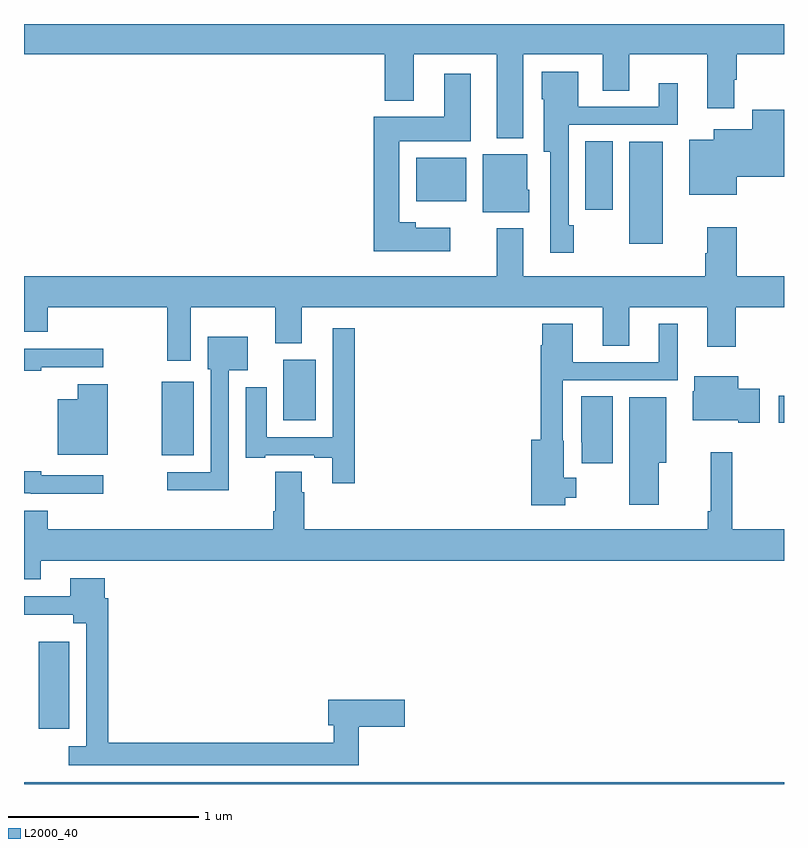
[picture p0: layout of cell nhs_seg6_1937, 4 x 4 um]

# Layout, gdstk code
import gdstk
lib = gdstk.Library(unit=1e-6, precision=1e-09)
def R(c, l, rs):  # rectangles x0, y0, x1, y1
    for r in rs: c.add(gdstk.rectangle(r[:2], r[2:], *l))
def P(c, l, *ps):  # polygons
    for p in ps: c.add(gdstk.Polygon(p, *l))
L2000_40 = (2000, 40)

nhs_seg6_1937 = lib.new_cell('nhs_seg6_1937')
R(nhs_seg6_1937, L2000_40, [(227,939.5,231,939.508), (227.078,939.791,227.239,940.249), (227.726,941.231,227.893,941.617), (230.973,941.402,231,941.544), (228.365,941.414,228.535,941.734), (230.186,942.344,230.362,942.88), (229.955,942.522,230.098,942.884), (229.064,942.566,229.327,942.796)])
P(nhs_seg6_1937, L2000_40, [(227,943.34),(228.899,943.34),(228.899,943.097),(229.051,943.097),(229.051,943.34),(229.487,943.34),(229.487,942.899),(229.627,942.899),(229.627,943.34),(230.045,943.34),(230.045,943.15),(230.185,943.15),(230.185,943.34),(230.597,943.34),(230.597,943.056),(230.737,943.056),(230.737,943.206),(230.75,943.206),(230.75,943.34),(231,943.34),(231,943.5),(227,943.5)],
  [(229.893,942.441),(229.866,942.441),(229.866,942.969),(230.44,942.969),(230.44,943.189),(230.342,943.189),(230.342,943.065),(229.918,943.065),(229.918,943.249),(229.724,943.249),(229.724,943.104),(229.736,943.104),(229.736,942.827),(229.77,942.827),(229.77,942.297),(229.893,942.297)],
  [(229.243,942.427),(229.063,942.427),(229.063,942.457),(228.976,942.457),(228.976,942.884),(229.351,942.884),(229.351,943.237),(229.211,943.237),(229.211,943.012),(228.842,943.012),(228.842,942.305),(229.243,942.305)],
  [(230.752,942.695),(231,942.695),(231,943.048),(230.834,943.048),(230.834,942.946),(230.63,942.946),(230.63,942.892),(230.501,942.892),(230.501,942.602),(230.752,942.602)],
  [(229.66,942.627),(229.648,942.627),(229.648,942.814),(229.415,942.814),(229.415,942.509),(229.66,942.509)],
  [(227.878,942.008),(228.323,942.008),(228.323,941.819),(228.463,941.819),(228.463,942.008),(230.045,942.008),(230.045,941.806),(230.185,941.806),(230.185,942.008),(230.597,942.008),(230.597,941.802),(230.745,941.802),(230.745,942.008),(231,942.008),(231,942.172),(230.75,942.172),(230.75,942.43),(230.597,942.43),(230.597,942.293),(230.585,942.293),(230.585,942.172),(229.627,942.172),(229.627,942.424),(229.487,942.424),(229.487,942.172),(227,942.172),(227,941.88),(227.125,941.88),(227.125,942.008),(227.753,942.008),(227.753,941.727),(227.878,941.727)],
  [(229.848,941.006),(229.907,941.006),(229.907,941.111),(229.84,941.111),(229.84,941.307),(229.836,941.307),(229.836,941.625),(230.44,941.625),(230.44,941.923),(230.342,941.923),(230.342,941.721),(229.888,941.721),(229.888,941.923),(229.727,941.923),(229.727,941.81),(229.72,941.81),(229.72,941.311),(229.67,941.311),(229.67,940.967),(229.848,940.967)],
  [(228.74,941.899),(228.624,941.899),(228.624,941.325),(228.277,941.325),(228.277,941.587),(228.167,941.587),(228.167,941.217),(228.271,941.217),(228.271,941.229),(228.527,941.229),(228.527,941.217),(228.623,941.217),(228.623,941.082),(228.74,941.082)],
  [(228.078,941.678),(228.178,941.678),(228.178,941.854),(227.966,941.854),(227.966,941.682),(227.982,941.682),(227.982,941.142),(227.754,941.142),(227.754,941.045),(228.078,941.045)],
  [(227.092,941.694),(227.416,941.694),(227.416,941.79),(227,941.79),(227,941.674),(227.092,941.674)],
  [(230.872,941.58),(230.758,941.58),(230.758,941.647),(230.528,941.647),(230.528,941.568),(230.519,941.568),(230.519,941.414),(230.759,941.414),(230.759,941.402),(230.872,941.402)],
  [(227.44,941.605),(227.282,941.605),(227.282,941.524),(227.177,941.524),(227.177,941.234),(227.44,941.234)],
  [(230.098,941.54),(229.934,941.54),(229.934,941.299),(229.936,941.299),(229.936,941.187),(230.098,941.187)],
  [(230.341,941.192),(230.38,941.192),(230.38,941.536),(230.186,941.536),(230.186,940.971),(230.341,940.971)],
  [(227.089,940.676),(231,940.676),(231,940.84),(230.728,940.84),(230.728,941.245),(230.614,941.245),(230.614,940.936),(230.599,940.936),(230.599,940.84),(228.476,940.84),(228.476,941.036),(228.463,941.036),(228.463,941.144),(228.323,941.144),(228.323,940.936),(228.311,940.936),(228.311,940.84),(227.126,940.84),(227.126,940.938),(227,940.938),(227,940.577),(227.089,940.577)],
  [(227.416,941.124),(227.092,941.124),(227.092,941.147),(227,941.147),(227,941.031),(227.035,941.031),(227.035,941.027),(227.416,941.027)],
  [(228.761,939.802),(229.003,939.802),(229.003,939.944),(228.602,939.944),(228.602,939.809),(228.629,939.809),(228.629,939.716),(227.444,939.716),(227.444,940.478),(227.425,940.478),(227.425,940.582),(227.243,940.582),(227.243,940.488),(227,940.488),(227,940.392),(227.258,940.392),(227.258,940.346),(227.328,940.346),(227.328,939.7),(227.235,939.7),(227.235,939.6),(228.761,939.6)])

lib.write_gds('nhs_seg6_1937.gds')
